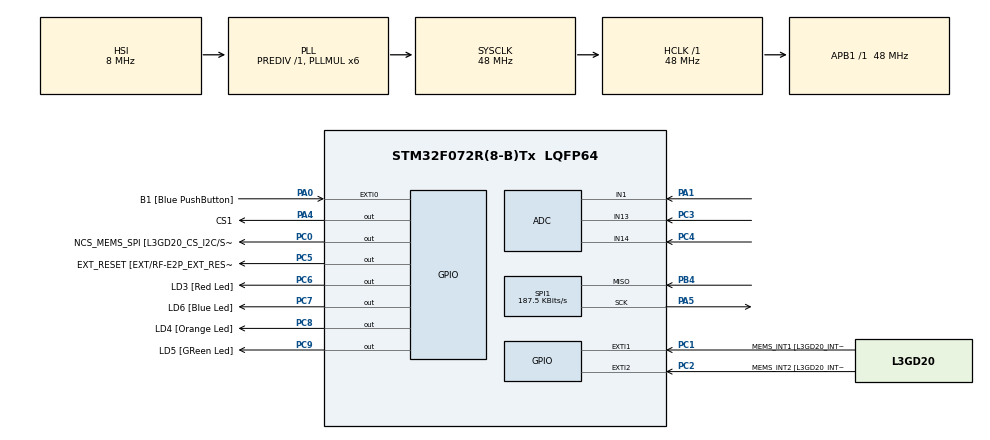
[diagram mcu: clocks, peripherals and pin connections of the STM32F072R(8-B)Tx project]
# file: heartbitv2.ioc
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ADC.ClockPrescaler=ADC_CLOCK_ASYNC
ADC.ContinuousConvMode=DISABLE
ADC.DMAContinuousRequests=DISABLE
ADC.DataAlign=ADC_DATAALIGN_RIGHT
ADC.DiscontinuousConvMode=DISABLE
ADC.EOCSelection=EOC_SINGLE_CONV
ADC.EnableAnalogWatchDog=false
ADC.ExternalTrigConvEdge=ADC_EXTERNALTRIGCONVEDGE_NONE
ADC.LowPowerAutoPowerOff=DISABLE
ADC.LowPowerAutoWait=DISABLE
ADC.Overrun=OVR_DATA_PRESERVED
ADC.Resolution=ADC_RESOLUTION12b
ADC.SamplingTime=ADC_SAMPLETIME_1CYCLE_5
ADC.ScanConvMode=ADC_SCAN_DIRECTION_FORWARD
Mcu.Family=STM32F0
Mcu.Name=STM32F072R(8-B)Tx
Mcu.Package=LQFP64
PA0.GPIO_Label=B1 [Blue PushButton]
PA0.GPIO_ModeDefaultEXTI=GPIO_MODE_EVT_RISING
PA0.Signal=GPXTI0
PA1.Mode=IN1
PA1.Signal=ADC_IN1
PA11.GPIO_Label=USBF4_DM
PA11.Signal=USB_DM
PA12.GPIO_Label=USBF4_DP
PA12.Signal=USB_DP
PA13.GPIO_Label=SWDIO
PA13.Mode=Serial-WireDebug
PA13.Signal=SYS_SWDIO
PA14.GPIO_Label=SWCLK
PA14.Mode=Serial-WireDebug
PA14.Signal=SYS_SWCLK
PA2.Signal=TSC_G1_IO3
PA3.Signal=TSC_G1_IO4
PA4.GPIO_Label=CS1
PA4.Signal=GPIO_Output
PA5.Mode=RX_Only_Simplex_Unidirect_Master
PA5.Signal=SPI1_SCK
PA6.Signal=TSC_G2_IO3
PA7.Signal=TSC_G2_IO4
PB0.Signal=TSC_G3_IO2
PB1.Signal=TSC_G3_IO3
PB10.GPIO_Label=I2C2_SCL[EXT/RF-E2P_SCL]
PB10.Signal=I2C2_SCL
PB11.GPIO_Label=I2C2_SDA[EXT/RF-E2P_SDA]
PB11.Signal=I2C2_SDA
PB13.GPIO_Label=SPI2_SCK [L3GD20_SCL/SPC]
PB13.Signal=SPI2_SCK
PB14.GPIO_Label=SPI2_MISO [L3GD20_SDO]
PB14.Signal=SPI2_MISO
PB15.GPIO_Label=SPI2_MOSI [L3GD20_SDA/SDI]
PB15.Signal=SPI2_MOSI
PB4.Mode=RX_Only_Simplex_Unidirect_Master
PB4.Signal=SPI1_MISO
PC0.GPIO_Label=NCS_MEMS_SPI [L3GD20_CS_I2C/SPI]
PC0.Signal=GPIO_Output
PC1.GPIO_Label=MEMS_INT1 [L3GD20_INT1]
PC1.GPIO_ModeDefaultEXTI=GPIO_MODE_EVT_RISING
PC1.Signal=GPXTI1
PC2.GPIO_Label=MEMS_INT2 [L3GD20_INT2]
PC2.GPIO_ModeDefaultEXTI=GPIO_MODE_EVT_RISING
PC2.Signal=GPXTI2
PC3.Mode=IN13
PC3.Signal=ADC_IN13
PC4.Mode=IN14
PC4.Signal=ADC_IN14
PC5.GPIO_Label=EXT_RESET [EXT/RF-E2P_EXT_RESET]
PC5.Signal=GPIO_Output
PC6.GPIO_Label=LD3 [Red Led]
PC6.Signal=GPIO_Output
PC7.GPIO_Label=LD6 [Blue Led]
PC7.Signal=GPIO_Output
PC8.GPIO_Label=LD4 [Orange Led]
PC8.Signal=GPIO_Output
PC9.GPIO_Label=LD5 [GReen Led]
PC9.Signal=GPIO_Output
ProjectManager.TargetToolchain=TrueSTUDIO
RCC.AHBFreq_Value=48000000
RCC.APB1Freq_Value=48000000
RCC.APB1TimFreq_Value=48000000
RCC.HCLKFreq_Value=48000000
RCC.PLLMUL=RCC_PLL_MUL6
RCC.SYSCLKFreq_VALUE=48000000
RCC.SYSCLKSource=RCC_SYSCLKSOURCE_PLLCLK
SPI1.BaudRatePrescaler=SPI_BAUDRATEPRESCALER_256
SPI1.CLKPolarity=SPI_POLARITY_HIGH
SPI1.CalculateBaudRate=187.5 KBits/s
SPI1.DataSize=SPI_DATASIZE_12BIT
SPI1.Direction=SPI_DIRECTION_2LINES_RXONLY
SPI1.Mode=SPI_MODE_MASTER
board=STM32F072B-DISCO

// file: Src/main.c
/**
  ******************************************************************************
  * File Name          : main.c
  * Description        : Main program body
  ******************************************************************************
  *
  * COPYRIGHT(c) 2016 STMicroelectronics
  *
  * Redistribution and use in source and binary forms, with or without modification,
  * are permitted provided that the following conditions are met:
  *   1. Redistributions of source code must retain the above copyright notice,
  *      this list of conditions and the following disclaimer.
  *   2. Redistributions in binary form must reproduce the above copyright notice,
  *      this list of conditions and the following disclaimer in the documentation
  *      and/or other materials provided with the distribution.
  *   3. Neither the name of STMicroelectronics nor the names of its contributors
  *      may be used to endorse or promote products derived from this software
  *      without specific prior written permission.
  *
  * THIS SOFTWARE IS PROVIDED BY THE COPYRIGHT HOLDERS AND CONTRIBUTORS "AS IS"
  * AND ANY EXPRESS OR IMPLIED WARRANTIES, INCLUDING, BUT NOT LIMITED TO, THE
  * IMPLIED WARRANTIES OF MERCHANTABILITY AND FITNESS FOR A PARTICULAR PURPOSE ARE
  * DISCLAIMED. IN NO EVENT SHALL THE COPYRIGHT HOLDER OR CONTRIBUTORS BE LIABLE
  * FOR ANY DIRECT, INDIRECT, INCIDENTAL, SPECIAL, EXEMPLARY, OR CONSEQUENTIAL
  * DAMAGES (INCLUDING, BUT NOT LIMITED TO, PROCUREMENT OF SUBSTITUTE GOODS OR
  * SERVICES; LOSS OF USE, DATA, OR PROFITS; OR BUSINESS INTERRUPTION) HOWEVER
  * CAUSED AND ON ANY THEORY OF LIABILITY, WHETHER IN CONTRACT, STRICT LIABILITY,
  * OR TORT (INCLUDING NEGLIGENCE OR OTHERWISE) ARISING IN ANY WAY OUT OF THE USE
  * OF THIS SOFTWARE, EVEN IF ADVISED OF THE POSSIBILITY OF SUCH DAMAGE.
  *
  ******************************************************************************
  */
#include "stm32f0xx_hal.h"

ADC_HandleTypeDef hadc;

SPI_HandleTypeDef hspi1;

/* USER CODE BEGIN PV */
/* Private variables ---------------------------------------------------------*/

/* USER CODE END PV */

void SystemClock_Config(void);
static void MX_GPIO_Init(void);
static void MX_ADC_Init(void);
static void MX_SPI1_Init(void);

/* USER CODE BEGIN PFP */
/* Private function prototypes -----------------------------------------------*/
float foo_convert(uint32_t a);
/* USER CODE END PFP */

int main(void)
{

  /* USER CODE BEGIN 1 */
	uint16_t bar;
	uint32_t foo;
	float var;
	float var_foo;
	int i;

  /* USER CODE END 1 */

  /* MCU Configuration----------------------------------------------------------*/

  /* Reset of all peripherals, Initializes the Flash interface and the Systick. */
  HAL_Init();

  /* Configure the system clock */
  SystemClock_Config();

  /* Initialize all configured peripherals */
  MX_GPIO_Init();
  MX_ADC_Init();
  MX_SPI1_Init();

  /* Infinite loop */
  while (1)
  {

  /* USER CODE BEGIN 3 */
	  HAL_ADC_Start(&hadc);
	  HAL_ADC_PollForConversion(&hadc, 0x1000);
	  HAL_GPIO_WritePin(CS1_GPIO_Port,CS1_Pin, GPIO_PIN_RESET);
	  HAL_SPI_Receive(&hspi1, &bar, 16 , 0x10000);
	  var_foo = HAL_ADC_GetValue(&hadc);
//	  var_foo = foo_convert(foo);
	  var= var_foo*0.00072143974+0.06045539906 ; //0.00072143974*foo+0.06045539906
	  printf("%f", foo);
	  if (var < 1.0)
		  HAL_GPIO_WritePin(GPIOC,LD3_Pin, GPIO_PIN_SET);
	  else
		  HAL_GPIO_WritePin(GPIOC,LD3_Pin, GPIO_PIN_RESET);
	  HAL_GPIO_WritePin(CS1_GPIO_Port,CS1_Pin, GPIO_PIN_SET); // max time for conversion is 0.25s . Please note.
	  for(i=0; i<5000; i++);
	  HAL_ADC_Stop(&hadc);

  }
  /* USER CODE END 3 */

}

/** System Clock Configuration
*/
void SystemClock_Config(void)
{

  RCC_OscInitTypeDef RCC_OscInitStruct;
  RCC_ClkInitTypeDef RCC_ClkInitStruct;

  RCC_OscInitStruct.OscillatorType = RCC_OSCILLATORTYPE_HSI|RCC_OSCILLATORTYPE_HSI14;
  RCC_OscInitStruct.HSIState = RCC_HSI_ON;
  RCC_OscInitStruct.HSI14State = RCC_HSI14_ON;
  RCC_OscInitStruct.HSICalibrationValue = 16;
  RCC_OscInitStruct.HSI14CalibrationValue = 16;
  RCC_OscInitStruct.PLL.PLLState = RCC_PLL_ON;
  RCC_OscInitStruct.PLL.PLLSource = RCC_PLLSOURCE_HSI;
  RCC_OscInitStruct.PLL.PLLMUL = RCC_PLL_MUL6;
  RCC_OscInitStruct.PLL.PREDIV = RCC_PREDIV_DIV1;
  HAL_RCC_OscConfig(&RCC_OscInitStruct);

  RCC_ClkInitStruct.ClockType = RCC_CLOCKTYPE_SYSCLK;
  RCC_ClkInitStruct.SYSCLKSource = RCC_SYSCLKSOURCE_PLLCLK;
  RCC_ClkInitStruct.AHBCLKDivider = RCC_SYSCLK_DIV1;
  RCC_ClkInitStruct.APB1CLKDivider = RCC_HCLK_DIV1;
  HAL_RCC_ClockConfig(&RCC_ClkInitStruct, FLASH_LATENCY_1);

  HAL_SYSTICK_Config(HAL_RCC_GetHCLKFreq()/1000);

  HAL_SYSTICK_CLKSourceConfig(SYSTICK_CLKSOURCE_HCLK);

  /* SysTick_IRQn interrupt configuration */
  HAL_NVIC_SetPriority(SysTick_IRQn, 0, 0);
}

/* ADC init function */
void MX_ADC_Init(void)
{

  ADC_ChannelConfTypeDef sConfig;

    /**Configure the global features of the ADC (Clock, Resolution, Data Alignment and number of conversion)
    */
  hadc.Instance = ADC1;
  hadc.Init.ClockPrescaler = ADC_CLOCK_ASYNC;
  hadc.Init.Resolution = ADC_RESOLUTION12b;
  hadc.Init.DataAlign = ADC_DATAALIGN_RIGHT;
  hadc.Init.ScanConvMode = ADC_SCAN_DIRECTION_FORWARD;
  hadc.Init.EOCSelection = EOC_SINGLE_CONV;
  hadc.Init.LowPowerAutoWait = DISABLE;
  hadc.Init.LowPowerAutoPowerOff = DISABLE;
  hadc.Init.ContinuousConvMode = DISABLE;
  hadc.Init.DiscontinuousConvMode = DISABLE;
  hadc.Init.ExternalTrigConvEdge = ADC_EXTERNALTRIGCONVEDGE_NONE;
  hadc.Init.DMAContinuousRequests = DISABLE;
  hadc.Init.Overrun = OVR_DATA_PRESERVED;
  HAL_ADC_Init(&hadc);

    /**Configure for the selected ADC regular channel to be converted.
    */
  sConfig.Channel = ADC_CHANNEL_14;
  sConfig.Rank = ADC_RANK_CHANNEL_NUMBER;
  sConfig.SamplingTime = ADC_SAMPLETIME_1CYCLE_5;
  HAL_ADC_ConfigChannel(&hadc, &sConfig);

}

/* SPI1 init function */
void MX_SPI1_Init(void)
{

  hspi1.Instance = SPI1;
  hspi1.Init.Mode = SPI_MODE_MASTER;
  hspi1.Init.Direction = SPI_DIRECTION_2LINES_RXONLY;
  hspi1.Init.DataSize = SPI_DATASIZE_12BIT;
  hspi1.Init.CLKPolarity = SPI_POLARITY_HIGH;
  hspi1.Init.CLKPhase = SPI_PHASE_1EDGE;
  hspi1.Init.NSS = SPI_NSS_SOFT;
  hspi1.Init.BaudRatePrescaler = SPI_BAUDRATEPRESCALER_256;
  hspi1.Init.FirstBit = SPI_FIRSTBIT_MSB;
  hspi1.Init.TIMode = SPI_TIMODE_DISABLED;
  hspi1.Init.CRCCalculation = SPI_CRCCALCULATION_DISABLED;
  hspi1.Init.CRCPolynomial = 7;
  hspi1.Init.CRCLength = SPI_CRC_LENGTH_DATASIZE;
  hspi1.Init.NSSPMode = SPI_NSS_PULSE_ENABLED;
  HAL_SPI_Init(&hspi1);

}

/** Configure pins as
        * Analog
        * Input
        * Output
        * EVENT_OUT
        * EXTI
     PA2   ------> TSC_G1_IO3
     PA3   ------> TSC_G1_IO4
     PA6   ------> TSC_G2_IO3
     PA7   ------> TSC_G2_IO4
     PB0   ------> TSC_G3_IO2
     PB1   ------> TSC_G3_IO3
     PB10   ------> I2C2_SCL
     PB11   ------> I2C2_SDA
     PB13   ------> SPI2_SCK
     PB14   ------> SPI2_MISO
     PB15   ------> SPI2_MOSI
*/
void MX_GPIO_Init(void)
{

  GPIO_InitTypeDef GPIO_InitStruct;

  /* GPIO Ports Clock Enable */
  __GPIOC_CLK_ENABLE();
  __GPIOA_CLK_ENABLE();
  __GPIOB_CLK_ENABLE();

  /*Configure GPIO pins : NCS_MEMS_SPI_Pin EXT_RESET_Pin LD3_Pin LD6_Pin
                           LD4_Pin LD5_Pin */
  GPIO_InitStruct.Pin = NCS_MEMS_SPI_Pin|EXT_RESET_Pin|LD3_Pin|LD6_Pin
                          |LD4_Pin|LD5_Pin;
  GPIO_InitStruct.Mode = GPIO_MODE_OUTPUT_PP;
  GPIO_InitStruct.Pull = GPIO_NOPULL;
  GPIO_InitStruct.Speed = GPIO_SPEED_LOW;
  HAL_GPIO_Init(GPIOC, &GPIO_InitStruct);

  /*Configure GPIO pins : MEMS_INT1_Pin MEMS_INT2_Pin */
  GPIO_InitStruct.Pin = MEMS_INT1_Pin|MEMS_INT2_Pin;
  GPIO_InitStruct.Mode = GPIO_MODE_EVT_RISING;
  GPIO_InitStruct.Pull = GPIO_NOPULL;
  HAL_GPIO_Init(GPIOC, &GPIO_InitStruct);

  /*Configure GPIO pin : B1_Pin */
  GPIO_InitStruct.Pin = B1_Pin;
  GPIO_InitStruct.Mode = GPIO_MODE_EVT_RISING;
  GPIO_InitStruct.Pull = GPIO_NOPULL;
  HAL_GPIO_Init(B1_GPIO_Port, &GPIO_InitStruct);

  /*Configure GPIO pins : PA2 PA3 PA6 PA7 */
  GPIO_InitStruct.Pin = GPIO_PIN_2|GPIO_PIN_3|GPIO_PIN_6|GPIO_PIN_7;
  GPIO_InitStruct.Mode = GPIO_MODE_AF_PP;
  GPIO_InitStruct.Pull = GPIO_NOPULL;
  GPIO_InitStruct.Speed = GPIO_SPEED_LOW;
  GPIO_InitStruct.Alternate = GPIO_AF3_TSC;
  HAL_GPIO_Init(GPIOA, &GPIO_InitStruct);

  /*Configure GPIO pin : CS1_Pin */
  GPIO_InitStruct.Pin = CS1_Pin;
  GPIO_InitStruct.Mode = GPIO_MODE_OUTPUT_PP;
  GPIO_InitStruct.Pull = GPIO_NOPULL;
  GPIO_InitStruct.Speed = GPIO_SPEED_LOW;
  HAL_GPIO_Init(CS1_GPIO_Port, &GPIO_InitStruct);

  /*Configure GPIO pins : PB0 PB1 */
  GPIO_InitStruct.Pin = GPIO_PIN_0|GPIO_PIN_1;
  GPIO_InitStruct.Mode = GPIO_MODE_AF_PP;
  GPIO_InitStruct.Pull = GPIO_NOPULL;
  GPIO_InitStruct.Speed = GPIO_SPEED_LOW;
  GPIO_InitStruct.Alternate = GPIO_AF3_TSC;
  HAL_GPIO_Init(GPIOB, &GPIO_InitStruct);

  /*Configure GPIO pins : PB10 PB11 */
  GPIO_InitStruct.Pin = GPIO_PIN_10|GPIO_PIN_11;
  GPIO_InitStruct.Mode = GPIO_MODE_AF_OD;
  GPIO_InitStruct.Pull = GPIO_PULLUP;
  GPIO_InitStruct.Speed = GPIO_SPEED_HIGH;
  GPIO_InitStruct.Alternate = GPIO_AF1_I2C2;
  HAL_GPIO_Init(GPIOB, &GPIO_InitStruct);

  /*Configure GPIO pins : PB13 PB14 PB15 */
  GPIO_InitStruct.Pin = GPIO_PIN_13|GPIO_PIN_14|GPIO_PIN_15;
  GPIO_InitStruct.Mode = GPIO_MODE_AF_PP;
  GPIO_InitStruct.Pull = GPIO_NOPULL;
  GPIO_InitStruct.Speed = GPIO_SPEED_HIGH;
  GPIO_InitStruct.Alternate = GPIO_AF0_SPI2;
  HAL_GPIO_Init(GPIOB, &GPIO_InitStruct);

}

/* USER CODE BEGIN 4 */

float foo_convert(uint32_t a) {
    float b;
    int i;
    char* aPointer = (char*)&a, *bPointer = (char*)&b;
    for(i = sizeof(a); i--; ) bPointer[i] = aPointer[i];
    return b;
}

/* USER CODE END 4 */

/************************ (C) COPYRIGHT STMicroelectronics *****END OF FILE****/
